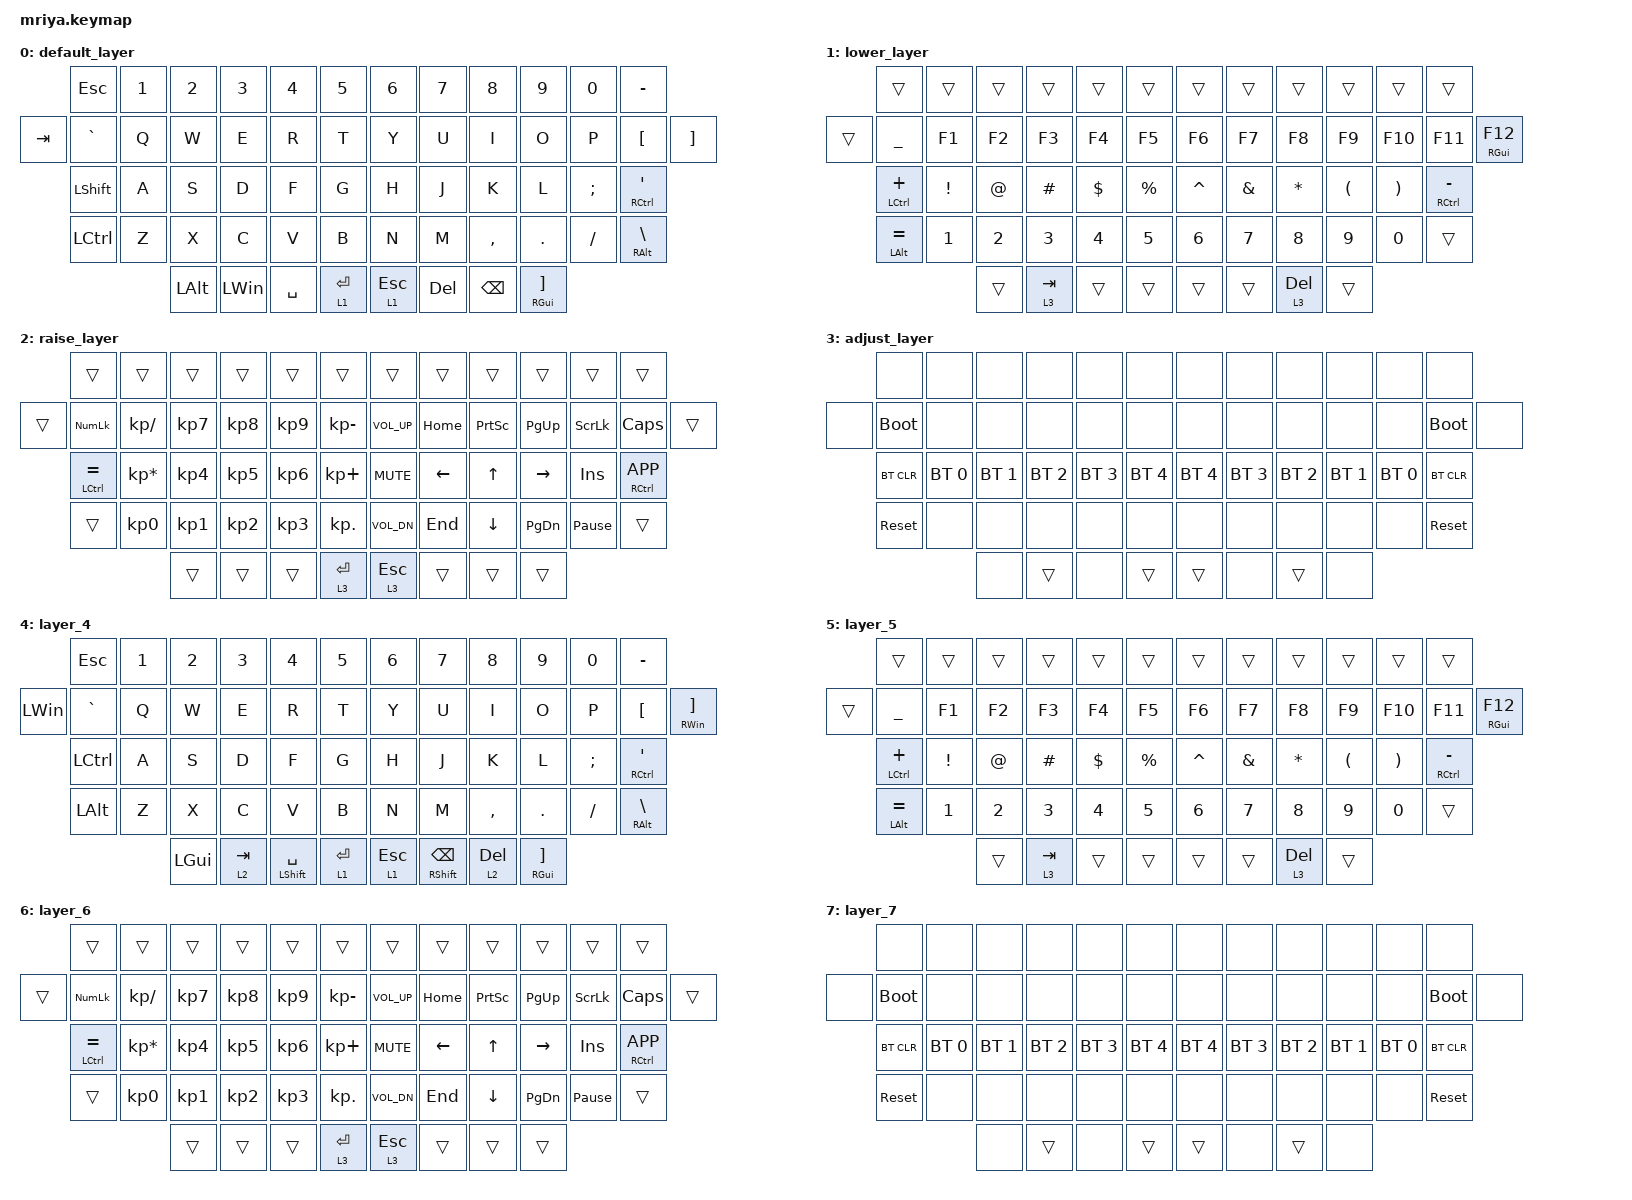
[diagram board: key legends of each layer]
/*
 * Copyright (c) 2023 Andrei Gaevskii
 *
 * SPDX-License-Identifier: MIT
 */

#include <behaviors.dtsi>
#include <dt-bindings/zmk/bt.h>
#include <dt-bindings/zmk/keys.h>

#define DEF 0
#define LWR 1
#define RSE 2
#define ADJ 3

&lt { quick_tap_ms = <200>; };

&mt { quick_tap_ms = <200>; };

/ {
    keymap {
        compatible = "zmk,keymap";

        default_layer {
            bindings = <
         &kp ESC    &kp N1  &kp N2        &kp N3        &kp N4     &kp N5       &kp N6     &kp N7      &kp N8         &kp N9                  &kp N0    &kp MINUS
&kp TAB  &kp GRAVE  &kp Q   &kp W         &kp E         &kp R      &kp T        &kp Y      &kp U       &kp I          &kp O                   &kp P     &kp LBKT       &kp RIGHT_BRACKET
         &kp LSHFT  &kp A   &kp S         &kp D         &kp F      &kp G        &kp H      &kp J       &kp K          &kp L                   &kp SEMI  &mt RCTRL SQT
         &kp LCTRL  &kp Z   &kp X         &kp C         &kp V      &kp B        &kp N      &kp M       &kp COMMA      &kp DOT                 &kp FSLH  &mt RALT BSLH
                            &kp LEFT_ALT  &kp LEFT_WIN  &kp SPACE  &lt 1 RET    &lt 1 ESC  &kp DELETE  &kp BACKSPACE  &mt RGUI RIGHT_BRACKET
            >;
        };

        lower_layer {
            bindings = <
        &trans          &trans    &trans  &trans     &trans    &trans       &trans     &trans    &trans     &trans    &trans    &trans
&trans  &kp UNDER       &kp F1    &kp F2  &kp F3     &kp F4    &kp F5       &kp F6     &kp F7    &kp F8     &kp F9    &kp F10   &kp F11          &mt RGUI F12
        &mt LCTRL PLUS  &kp EXCL  &kp AT  &kp HASH   &kp DLLR  &kp PRCNT    &kp CARET  &kp AMPS  &kp STAR   &kp LPAR  &kp RPAR  &mt RCTRL MINUS
        &mt LALT EQUAL  &kp N1    &kp N2  &kp N3     &kp N4    &kp N5       &kp N6     &kp N7    &kp N8     &kp N9    &kp N0    &trans
                                  &trans  &lt 3 TAB  &trans    &trans       &trans     &trans    &lt 3 DEL  &trans
            >;
        };

        raise_layer {
            bindings = <
        &trans           &trans           &trans     &trans     &trans     &trans          &trans        &trans    &trans     &trans     &trans           &trans
&trans  &kp KP_NUM       &kp KP_SLASH     &kp KP_N7  &kp KP_N8  &kp KP_N9  &kp KP_MINUS    &kp C_VOL_UP  &kp HOME  &kp PSCRN  &kp PG_UP  &kp SLCK         &kp CAPS         &trans
        &mt LCTRL EQUAL  &kp KP_MULTIPLY  &kp KP_N4  &kp KP_N5  &kp KP_N6  &kp KP_PLUS     &kp C_MUTE    &kp LEFT  &kp UP     &kp RIGHT  &kp INS          &mt RCTRL K_APP
        &trans           &kp KP_N0        &kp KP_N1  &kp KP_N2  &kp KP_N3  &kp KP_DOT      &kp C_VOL_DN  &kp END   &kp DOWN   &kp PG_DN  &kp PAUSE_BREAK  &trans
                                          &trans     &trans     &trans     &lt 3 RET       &lt 3 ESC     &trans    &trans     &trans
            >;
        };

        adjust_layer {
            bindings = <
       &none        &none         &none         &none         &none         &none           &none         &none         &none         &none         &none         &none
&none  &bootloader  &none         &none         &none         &none         &none           &none         &none         &none         &none         &none         &bootloader  &none
       &bt BT_CLR   &bt BT_SEL 0  &bt BT_SEL 1  &bt BT_SEL 2  &bt BT_SEL 3  &bt BT_SEL 4    &bt BT_SEL 4  &bt BT_SEL 3  &bt BT_SEL 2  &bt BT_SEL 1  &bt BT_SEL 0  &bt BT_CLR
       &sys_reset   &none         &none         &none         &none         &none           &none         &none         &none         &none         &none         &sys_reset
                                  &none         &trans        &none         &trans          &trans        &none         &trans        &none
            >;
        };

        layer_4 {
            bindings = <
          &kp ESC    &kp N1  &kp N2    &kp N3     &kp N4           &kp N5       &kp N6     &kp N7          &kp N8     &kp N9                  &kp N0    &kp MINUS
&kp LWIN  &kp GRAVE  &kp Q   &kp W     &kp E      &kp R            &kp T        &kp Y      &kp U           &kp I      &kp O                   &kp P     &kp LBKT       &mt RWIN RBKT
          &kp LCTRL  &kp A   &kp S     &kp D      &kp F            &kp G        &kp H      &kp J           &kp K      &kp L                   &kp SEMI  &mt RCTRL SQT
          &kp LALT   &kp Z   &kp X     &kp C      &kp V            &kp B        &kp N      &kp M           &kp COMMA  &kp DOT                 &kp FSLH  &mt RALT BSLH
                             &kp LGUI  &lt 2 TAB  &mt LSHFT SPACE  &lt 1 RET    &lt 1 ESC  &mt RSHFT BSPC  &lt 2 DEL  &mt RGUI RIGHT_BRACKET
            >;
        };

        layer_5 {
            bindings = <
        &trans          &trans    &trans  &trans     &trans    &trans       &trans     &trans    &trans     &trans    &trans    &trans
&trans  &kp UNDER       &kp F1    &kp F2  &kp F3     &kp F4    &kp F5       &kp F6     &kp F7    &kp F8     &kp F9    &kp F10   &kp F11          &mt RGUI F12
        &mt LCTRL PLUS  &kp EXCL  &kp AT  &kp HASH   &kp DLLR  &kp PRCNT    &kp CARET  &kp AMPS  &kp STAR   &kp LPAR  &kp RPAR  &mt RCTRL MINUS
        &mt LALT EQUAL  &kp N1    &kp N2  &kp N3     &kp N4    &kp N5       &kp N6     &kp N7    &kp N8     &kp N9    &kp N0    &trans
                                  &trans  &lt 3 TAB  &trans    &trans       &trans     &trans    &lt 3 DEL  &trans
            >;
        };

        layer_6 {
            bindings = <
        &trans           &trans           &trans     &trans     &trans     &trans          &trans        &trans    &trans     &trans     &trans           &trans
&trans  &kp KP_NUM       &kp KP_SLASH     &kp KP_N7  &kp KP_N8  &kp KP_N9  &kp KP_MINUS    &kp C_VOL_UP  &kp HOME  &kp PSCRN  &kp PG_UP  &kp SLCK         &kp CAPS         &trans
        &mt LCTRL EQUAL  &kp KP_MULTIPLY  &kp KP_N4  &kp KP_N5  &kp KP_N6  &kp KP_PLUS     &kp C_MUTE    &kp LEFT  &kp UP     &kp RIGHT  &kp INS          &mt RCTRL K_APP
        &trans           &kp KP_N0        &kp KP_N1  &kp KP_N2  &kp KP_N3  &kp KP_DOT      &kp C_VOL_DN  &kp END   &kp DOWN   &kp PG_DN  &kp PAUSE_BREAK  &trans
                                          &trans     &trans     &trans     &lt 3 RET       &lt 3 ESC     &trans    &trans     &trans
            >;
        };

        layer_7 {
            bindings = <
       &none        &none         &none         &none         &none         &none           &none         &none         &none         &none         &none         &none
&none  &bootloader  &none         &none         &none         &none         &none           &none         &none         &none         &none         &none         &bootloader  &none
       &bt BT_CLR   &bt BT_SEL 0  &bt BT_SEL 1  &bt BT_SEL 2  &bt BT_SEL 3  &bt BT_SEL 4    &bt BT_SEL 4  &bt BT_SEL 3  &bt BT_SEL 2  &bt BT_SEL 1  &bt BT_SEL 0  &bt BT_CLR
       &sys_reset   &none         &none         &none         &none         &none           &none         &none         &none         &none         &none         &sys_reset
                                  &none         &trans        &none         &trans          &trans        &none         &trans        &none
            >;
        };
    };
};
